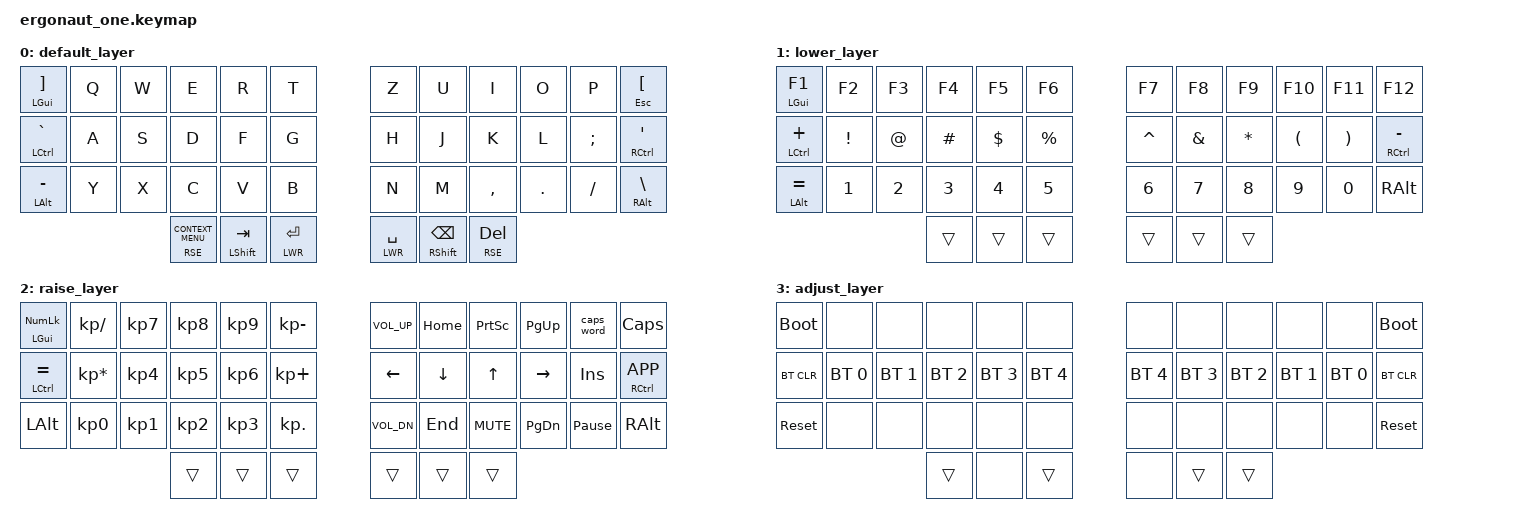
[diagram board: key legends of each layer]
#include <behaviors.dtsi>
#include <dt-bindings/zmk/bt.h>
#include <dt-bindings/zmk/keys.h>

#define DEF 0
#define LWR 1
#define RSE 2
#define ADJ 3

&lt { quick-tap-ms = <200>; };

&mt { quick-tap-ms = <200>; };

/ {
    conditional_layers {
        compatible = "zmk,conditional-layers";

        tri-layer {
            if-layers = <1 2>;
            then-layer = <3>;
        };
    };

    combos {
        compatible = "zmk,combos";

        caps_word {
            bindings = <&caps_word>;
            key-positions = <37 40>;
        };
    };

    behaviors {
        ts: ts {
            compatible = "zmk,behavior-hold-tap";
            label = "TS";
            bindings = <&sk>, <&kp>;

            #binding-cells = <2>;
            tapping-term-ms = <200>;
        };
    };

    keymap {
        compatible = "zmk,keymap";

        default_layer {
            bindings = <
&mt LGUI RBKT    &kp Q  &kp W  &kp E                   &kp R          &kp T        &kp Z          &kp U           &kp I        &kp O    &kp P     &mt ESCAPE LEFT_BRACKET
&mt LCTRL GRAVE  &kp A  &kp S  &kp D                   &kp F          &kp G        &kp H          &kp J           &kp K        &kp L    &kp SEMI  &mt RCTRL SQT
&mt LALT MINUS   &kp Y  &kp X  &kp C                   &kp V          &kp B        &kp N          &kp M           &kp COMMA    &kp DOT  &kp FSLH  &ts RALT BSLH
                               &lt RSE K_CONTEXT_MENU  &mt LSHFT TAB  &lt LWR RET  &lt LWR SPACE  &mt RSHFT BSPC  &lt RSE DEL
            >;
        };

        lower_layer {
            bindings = <
&mt LGUI F1     &kp F2    &kp F3  &kp F4    &kp F5    &kp F6     &kp F7     &kp F8    &kp F9    &kp F10   &kp F11   &kp F12
&mt LCTRL PLUS  &kp EXCL  &kp AT  &kp HASH  &kp DLLR  &kp PRCNT  &kp CARET  &kp AMPS  &kp STAR  &kp LPAR  &kp RPAR  &mt RCTRL MINUS
&mt LALT EQUAL  &kp N1    &kp N2  &kp N3    &kp N4    &kp N5     &kp N6     &kp N7    &kp N8    &kp N9    &kp N0    &kp RALT
                                  &trans    &trans    &trans     &trans     &trans    &trans
            >;
        };

        raise_layer {
            bindings = <
&mt LGUI KP_NUM  &kp KP_SLASH     &kp KP_N7  &kp KP_N8  &kp KP_N9  &kp KP_MINUS  &kp C_VOL_UP    &kp HOME        &kp PSCRN   &kp PG_UP  &caps_word       &kp CLCK
&mt LCTRL EQUAL  &kp KP_MULTIPLY  &kp KP_N4  &kp KP_N5  &kp KP_N6  &kp KP_PLUS   &kp LEFT_ARROW  &kp DOWN_ARROW  &kp UP      &kp RIGHT  &kp INS          &mt RCTRL K_APP
&kp LALT         &kp KP_N0        &kp KP_N1  &kp KP_N2  &kp KP_N3  &kp KP_DOT    &kp C_VOL_DN    &kp END         &kp C_MUTE  &kp PG_DN  &kp PAUSE_BREAK  &kp RALT
                                             &trans     &trans     &trans        &trans          &trans          &trans
            >;
        };

        adjust_layer {
            bindings = <
&bootloader  &none         &none         &none         &none         &none         &none         &none         &none         &none         &none         &bootloader
&bt BT_CLR   &bt BT_SEL 0  &bt BT_SEL 1  &bt BT_SEL 2  &bt BT_SEL 3  &bt BT_SEL 4  &bt BT_SEL 4  &bt BT_SEL 3  &bt BT_SEL 2  &bt BT_SEL 1  &bt BT_SEL 0  &bt BT_CLR
&sys_reset   &none         &none         &none         &none         &none         &none         &none         &none         &none         &none         &sys_reset
                                         &trans        &none         &trans        &none         &trans        &trans
            >;
        };
    };
};
